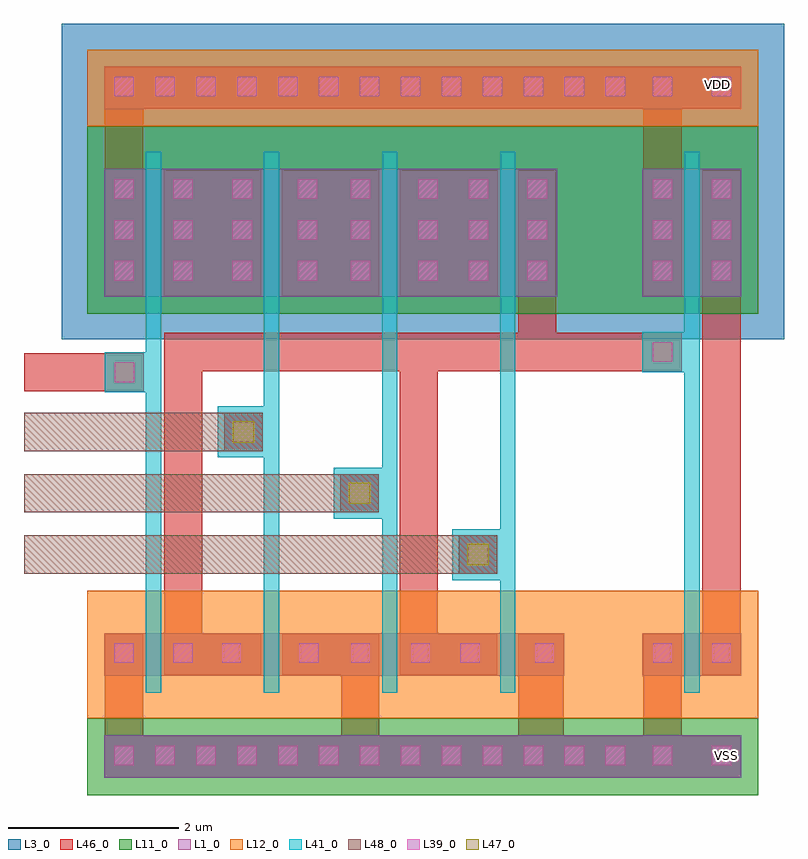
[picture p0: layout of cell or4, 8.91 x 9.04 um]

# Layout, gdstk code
import gdstk
lib = gdstk.Library(unit=1e-6, precision=1e-09)
def R(c, l, rs):  # rectangles x0, y0, x1, y1
    for r in rs: c.add(gdstk.rectangle(r[:2], r[2:], *l))
def A(c, l, x, y, w, h, nx, ny, dx, dy):  # array of equal rectangles
    R(c, l, [(x+i*dx, y+j*dy, x+i*dx+w, y+j*dy+h) for i in range(nx) for j in range(ny)])
L1_0 = (1, 0)
L3_0 = (3, 0)
L11_0 = (11, 0)
L12_0 = (12, 0)
L39_0 = (39, 0)
L41_0 = (41, 0)
L46_0 = (46, 0)
L47_0 = (47, 0)
L48_0 = (48, 0)

or4 = lib.new_cell('or4')
R(or4, L1_0, [(0.44,-1.145,7.915,-0.645), (0.44,0.055,5.84,0.555), (6.755,0.055,7.915,0.555), (0.44,4.5,5.755,6), (6.755,4.5,7.915,6), (0.44,6.701,7.915,7.201)])
R(or4, L3_0, [(-0.06,4,8.415,7.7)])
R(or4, L11_0, [(0.24,-1.345,8.115,-0.445), (0.24,4.3,8.115,6.5)])
R(or4, L12_0, [(0.24,-0.445,8.115,1.05), (0.24,6.5,8.115,7.4)])
A(or4, L39_0, 0.56, -0.995, 0.23, 0.23, 13, 2, 0.48, 7.846)
A(or4, L39_0, 0.56, 4.69, 0.23, 0.23, 1, 3, 0, 0.48)
A(or4, L39_0, 1.25, 4.69, 0.23, 0.23, 1, 3, 0, 0.48)
A(or4, L39_0, 1.945, 4.69, 0.23, 0.23, 1, 3, 0, 0.48)
A(or4, L39_0, 2.71, 4.69, 0.23, 0.23, 1, 3, 0, 0.48)
A(or4, L39_0, 3.33, 4.69, 0.23, 0.23, 1, 3, 0, 0.48)
A(or4, L39_0, 4.125, 4.69, 0.23, 0.23, 1, 3, 0, 0.48)
A(or4, L39_0, 4.715, 4.69, 0.23, 0.23, 1, 3, 0, 0.48)
A(or4, L39_0, 5.405, 4.69, 0.23, 0.23, 1, 3, 0, 0.48)
A(or4, L39_0, 6.875, 4.69, 0.23, 0.23, 1, 3, 0, 0.48)
A(or4, L39_0, 7.565, 4.69, 0.23, 0.23, 1, 3, 0, 0.48)
R(or4, L39_0, [(6.875,-0.995,7.105,-0.765), (7.565,-0.995,7.795,-0.765), (0.56,0.205,0.79,0.435), (1.25,0.205,1.48,0.435), (1.82,0.205,2.05,0.435), (2.725,0.205,2.955,0.435), (3.33,0.205,3.56,0.435), (4.035,0.205,4.265,0.435), (4.62,0.205,4.85,0.435), (5.49,0.205,5.72,0.435), (6.875,0.205,7.105,0.435), (7.565,0.205,7.795,0.435), (4.71,1.36,4.94,1.59), (3.32,2.08,3.55,2.31), (1.96,2.8,2.19,3.03), (0.565,3.5,0.795,3.73), (6.875,3.735,7.105,3.965), (6.875,6.85,7.105,7.08), (7.565,6.85,7.795,7.08)])
A(or4, L41_0, 0.93, -0.145, 0.18, 6.345, 4, 1, 1.385, 0)
R(or4, L41_0, [(7.245,-0.145,7.425,6.2), (4.525,1.175,5.125,1.775), (3.135,1.895,3.735,2.495), (1.775,2.615,2.375,3.215), (0.445,3.38,0.95,3.85), (6.755,3.615,7.26,4.085)])
A(or4, L46_0, 1.14, 4.51, 1.145, 1.48, 3, 1, 1.385, 0)
R(or4, L46_0, [(0.45,-1.135,7.905,-0.655), (0.45,-1.135,0.9,0.545), (3.22,-1.135,3.67,0.545), (5.295,-1.135,5.83,0.545), (6.765,-1.135,7.215,0.545), (1.145,0.065,2.285,0.545), (1.145,0.065,1.59,3.89), (2.53,0.065,3.67,0.545), (3.91,0.065,5.05,0.545), (3.91,0.065,4.355,3.885), (7.455,0.065,7.905,5.99), (4.6,1.25,5.05,1.7), (3.21,1.97,3.66,2.42), (1.85,2.69,2.3,3.14), (-0.5,3.39,0.905,3.84), (5.645,3.625,7.215,4.075), (0.45,4.51,0.9,5.99), (5.295,4.51,5.745,5.99), (6.765,4.51,7.215,7.19), (0.45,5.635,0.9,7.191), (0.45,6.711,7.905,7.191)])
R(or4, L47_0, [(4.7,1.35,4.95,1.6), (3.31,2.07,3.56,2.32), (1.95,2.79,2.2,3.04)])
R(or4, L48_0, [(-0.5,1.25,5.05,1.7), (-0.5,1.97,3.66,2.42), (-0.5,2.69,2.3,3.14)])
or4.add(gdstk.FlexPath([(5.52,4.51),(5.52,3.85),(1.145,3.85)], 0.45, ends="flush", simple_path=True, layer=46, datatype=0))  # L46_0
or4.add(gdstk.Label('VDD', (7.64,6.995), layer=101, texttype=0))
or4.add(gdstk.Label('VSS', (7.735,-0.88), layer=101, texttype=0))

lib.write_gds('or4.gds')
